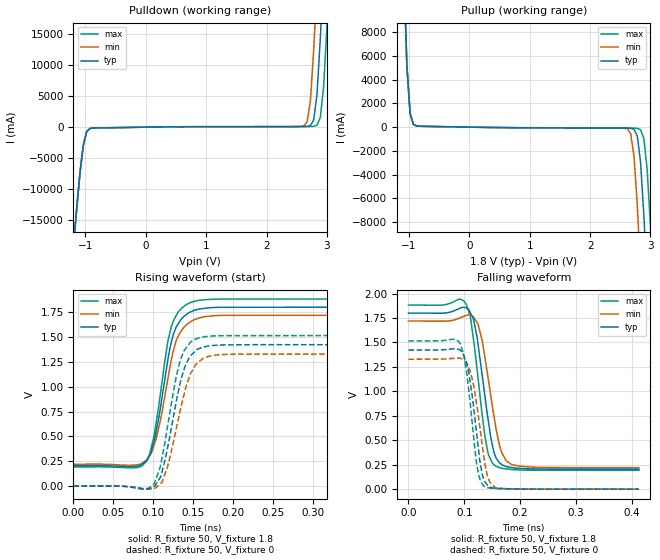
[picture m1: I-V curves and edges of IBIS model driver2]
| IBIS file invchain_stage4_tr1ps.ibs created by PYS2IBIS3
| Missouri S&T EMC Lab
[IBIS Ver] 7.1
[File Name] invchain_stage4_tr1ps.ibs
[File Rev] 1.0
[Date] Jul 27, 2026
[Source] inv_chain variant 'stage4' -- four stages, same final drive
[Notes] Parameter selection; sim_time=4.129e-10, tr=tf=1.000e-12.
[Component] invchain
[Manufacturer] s2ibispy study
[Package]
| variable   typ   min   max
R_pkg 0 NA NA
L_pkg 0H NA NA
C_pkg 0F NA NA
[Pin]  signal_name   model_name   R_pin   L_pin   C_pin
VSSQ   VSSQ   Gnd
VCCQ   VCCQ   Power
| IN IN dummy
PAD   PAD   driver2
| End of Component
| Models and submodels in the file (1): driver2 (Output)
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[Model] driver2
Model_type Output
Polarity Non-Inverting
Enable Active-High
Vinl  = 0.8V
Vinh  = 2V
C_comp 0.4680pF NA NA
[Temperature Range] 27.0000 27.0000 27.0000
[Voltage Range] 1.8000V 1.7000V 1.9000V
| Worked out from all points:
|   slope of the pulldown table from 0 to 0.27 V, typ, clamps not added: 6.79 ohm
|   slope of the pullup table from 0 to 0.27 V, typ, clamps not added: 12.6 ohm
|   rising waveform, R_fixture 50, V_fixture 1.8: 20-80 % time 20.5ps typ, 22.1ps min, 19.2ps max; typ from 0.204 V to 1.8 V
|   rising waveform, R_fixture 50, V_fixture 0: 20-80 % time 21.8ps typ, 23.5ps min, 20.6ps max; typ from 0 V to 1.42 V
|   falling waveform, R_fixture 50, V_fixture 1.8: 20-80 % time 22.9ps typ, 25.4ps min, 21ps max; typ from 1.8 V to 0.204 V
|   falling waveform, R_fixture 50, V_fixture 0: 20-80 % time 18.6ps typ, 19.9ps min, 17.2ps max; typ from 1.42 V to 0 V
[Pulldown]
| Voltage   I(typ)   I(min)   I(max)
-1.8V     -87.88A    -87.88A    -87.88A
-1.2V     -19.4A     -19.4A     -19.4A
-1.036V   -2.952A    -2.948A    -2.955A
-927.3mV  -221.8mA   -216.4mA   -227mA
2.618V    95.77mA    193.1mA    97.15mA
2.727V    244.8mA    4.224A     106.4mA
2.782V    1.151A     12.49A     132.5mA
2.836V    5.27A      23.04A     313.7mA
2.891V    14.25A     33.59A     1.533A
2.946V    24.81A     44.15A     6.464A
3V        35.36A     54.71A     16.02A
3.6V      151.5A     170.8A     132.1A
[Pullup]
| Voltage   I(typ)   I(min)   I(max)
-1.8V     151.4A     151.4A     151.4A
-1.091V   14.2A      14.19A     14.2A
-981.8mV  1.13A      1.129A     1.132A
-872.7mV  99.18mA    97.54mA    100.6mA
2.618V    -78.19mA   -142.5mA   -79.21mA
2.727V    -177.2mA   -2.408A    -86.52mA
2.782V    -728.3mA   -6.523A    -104.6mA
2.836V    -2.952A    -12.18A    -222.3mA
2.891V    -7.391A    -18.4A     -950.7mA
2.946V    -13.22A    -24.62A    -3.561A
3V        -19.44A    -30.85A    -8.297A
3.6V      -87.92A    -99.33A    -76.52A
[Ramp]
| variable   typ   min   max
dV/dt_r 0.8532/0.02174n 0.7968/0.02353n 0.9090/0.02054n
dV/dt_f 0.9575/0.02298n 0.8972/0.02483n 1.0171/0.02135n
R_load = 50
[Rising Waveform]
R_fixture = 50
V_fixture = 1.8
|time   V(typ)   V(min)   V(max)
0s        204.2mV    219.5mV    192.2mV
80.2ps    200.1mV    214.9mV    186.5mV
90.9ps    248.4mV    257.3mV    243.8mV
102.1ps   481mV      432.6mV    557.8mV
117.4ps   1.222V     1.036V     1.413V
122.3ps   1.438V     1.259V     1.601V
128.5ps   1.597V     1.46V      1.713V
141.3ps   1.726V     1.622V     1.826V
180.2ps   1.798V     1.717V     1.881V
412.9ps   1.8V       1.719V     1.882V
[Rising Waveform]
R_fixture = 50
V_fixture = 0
|time   V(typ)   V(min)   V(max)
0s        13.08nV    12.76nV    13.48nV
85.6ps    -26.44mV   -22.94mV   -31.14mV
101.3ps   -4.19mV    -22.4mV    23.9mV
108.7ps   85.43mV    20.53mV    191.1mV
117.4ps   364.2mV    180.4mV    573.9mV
133.1ps   1.012V     734.9mV    1.245V
140.1ps   1.213V     969.3mV    1.38V
151.7ps   1.351V     1.202V     1.475V
184.3ps   1.42V      1.323V     1.514V
412.9ps   1.422V     1.328V     1.515V
[Falling Waveform]
R_fixture = 50
V_fixture = 1.8
|time   V(typ)   V(min)   V(max)
0s        1.8V       1.719V     1.882V
103.3ps   1.856V     1.777V     1.891V
110.8ps   1.805V     1.78V      1.766V
116.1ps   1.746V     1.763V     1.553V
126.1ps   1.426V     1.657V     1.062V
141.3ps   762.1mV    1.187V     402.9mV
156.2ps   329.8mV    639.6mV    236.6mV
167ps     252.7mV    375.5mV    214.5mV
184.7ps   220.6mV    252.4mV    200.9mV
412.9ps   204.2mV    219.5mV    192.2mV
[Falling Waveform]
R_fixture = 50
V_fixture = 0
|time   V(typ)   V(min)   V(max)
0s        1.422V     1.328V     1.515V
92.6ps    1.422V     1.338V     1.488V
103.3ps   1.306V     1.294V     1.232V
111.6ps   1.058V     1.189V     827.6mV
121.9ps   579mV      879.8mV    261.5mV
127.7ps   297.5mV    642.6mV    106.4mV
135.1ps   96.99mV    325.9mV    30.56mV
145.5ps   20.67mV    74.32mV    11.3mV
159.1ps   7.945mV    11.57mV    5.719mV
412.9ps   43.76nV    -81.6nV    65.23nV
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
